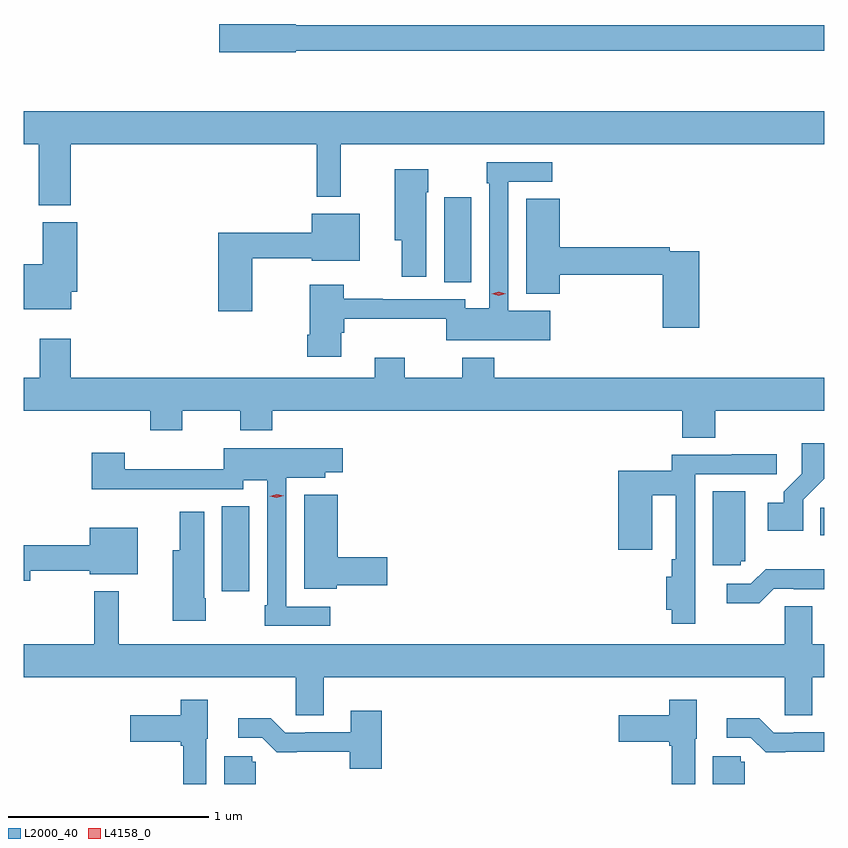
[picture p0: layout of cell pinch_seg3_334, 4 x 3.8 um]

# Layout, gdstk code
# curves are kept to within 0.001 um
import gdstk
lib = gdstk.Library(unit=1e-6, precision=1e-09)
def R(c, l, rs):  # rectangles x0, y0, x1, y1
    for r in rs: c.add(gdstk.rectangle(r[:2], r[2:], *l))
def P(c, l, *ps):  # polygons
    for p in ps: c.add(gdstk.Polygon(p, *l))
L2000_40 = (2000, 40)
L4158_0 = (4158, 0)

pinch_seg3_334 = lib.new_cell('pinch_seg3_334')
R(pinch_seg3_334, L2000_40, [(985.196,719.994,985.333,720.419), (988.186,720.272,988.206,720.41), (986.306,721.537,986.443,721.963)])
P(pinch_seg3_334, L2000_40, [(985.566,722.694),(988.206,722.694),(988.206,722.822),(985.566,722.822),(985.566,722.828),(985.182,722.828),(985.182,722.686),(985.566,722.686)],
  [(984.44,722.228),(985.669,722.228),(985.669,721.965),(985.79,721.965),(985.79,722.228),(988.206,722.228),(988.206,722.392),(984.206,722.392),(984.206,722.228),(984.28,722.228),(984.28,721.922),(984.44,721.922)],
  [(985.792,721.284),(985.807,721.284),(985.807,721.355),(986.316,721.355),(986.316,721.247),(986.836,721.247),(986.836,721.396),(986.628,721.396),(986.628,722.04),(986.848,722.04),(986.848,722.136),(986.52,722.136),(986.52,722.033),(986.532,722.033),(986.532,721.408),(986.412,721.408),(986.412,721.452),(986,721.452),(986,721.454),(985.805,721.454),(985.805,721.525),(985.634,721.525),(985.634,721.276),(985.622,721.276),(985.622,721.164),(985.792,721.164)],
  [(986.218,721.988),(986.226,721.988),(986.226,722.101),(986.06,722.101),(986.06,721.748),(986.096,721.748),(986.096,721.566),(986.218,721.566)],
  [(987.581,721.692),(987.434,721.692),(987.434,721.712),(986.884,721.712),(986.884,721.955),(986.717,721.955),(986.717,721.481),(986.884,721.481),(986.884,721.576),(987.398,721.576),(987.398,721.311),(987.581,721.311)],
  [(985.348,721.657),(985.646,721.657),(985.646,721.646),(985.885,721.646),(985.885,721.879),(985.646,721.879),(985.646,721.786),(985.178,721.786),(985.178,721.392),(985.348,721.392)],
  [(984.442,721.491),(984.473,721.491),(984.473,721.837),(984.302,721.837),(984.302,721.627),(984.206,721.627),(984.206,721.403),(984.442,721.403)],
  [(987.662,720.896),(988.206,720.896),(988.206,721.06),(986.558,721.06),(986.558,721.159),(986.398,721.159),(986.398,721.06),(986.109,721.06),(986.109,721.159),(985.961,721.159),(985.961,721.06),(984.44,721.06),(984.44,721.255),(984.287,721.255),(984.287,721.06),(984.206,721.06),(984.206,720.896),(984.839,720.896),(984.839,720.797),(984.999,720.797),(984.999,720.896),(985.288,720.896),(985.288,720.797),(985.448,720.797),(985.448,720.896),(987.497,720.896),(987.497,720.76),(987.662,720.76)],
  [(988.101,720.451),(988.206,720.556),(988.206,720.733),(988.095,720.733),(988.095,720.581),(988.004,720.491),(988.004,720.436),(987.924,720.436),(987.924,720.296),(988.101,720.296)],
  [(985.738,719.916),(985.518,719.916),(985.518,720.56),(985.713,720.56),(985.713,720.587),(985.801,720.587),(985.801,720.709),(985.206,720.709),(985.206,720.602),(984.71,720.602),(984.71,720.685),(984.545,720.685),(984.545,720.503),(984.793,720.503),(984.793,720.504),(985.302,720.504),(985.302,720.548),(985.422,720.548),(985.422,719.923),(985.41,719.923),(985.41,719.82),(985.738,719.82)],
  [(987.562,720.054),(987.561,720.054),(987.561,720.579),(987.97,720.579),(987.97,720.678),(987.745,720.678),(987.745,720.675),(987.445,720.675),(987.445,720.595),(987.176,720.595),(987.176,720.201),(987.346,720.201),(987.346,720.474),(987.465,720.474),(987.465,720.154),(987.445,720.154),(987.445,720.066),(987.416,720.066),(987.416,719.9),(987.445,719.9),(987.445,719.832),(987.562,719.832)],
  [(987.789,720.144),(987.811,720.144),(987.811,720.493),(987.65,720.493),(987.65,720.123),(987.789,720.123)],
  [(985.77,720.022),(986.023,720.022),(986.023,720.164),(985.774,720.164),(985.774,720.475),(985.607,720.475),(985.607,720.005),(985.77,720.005)],
  [(985.116,719.959),(985.108,719.959),(985.108,720.391),(984.986,720.391),(984.986,720.199),(984.95,720.199),(984.95,719.847),(985.116,719.847)],
  [(984.238,720.096),(984.536,720.096),(984.536,720.077),(984.775,720.077),(984.775,720.31),(984.536,720.31),(984.536,720.224),(984.206,720.224),(984.206,720.046),(984.238,720.046)],
  [(987.954,720.006),(988.054,720.006),(988.054,720.003),(988.206,720.003),(988.206,720.103),(987.913,720.103),(987.84,720.03),(987.72,720.03),(987.72,719.933),(987.881,719.933)],
  [(985.705,719.564),(988.008,719.564),(988.008,719.374),(988.147,719.374),(988.147,719.564),(988.206,719.564),(988.206,719.728),(988.147,719.728),(988.147,719.918),(988.008,719.918),(988.008,719.728),(984.68,719.728),(984.68,719.992),(984.559,719.992),(984.559,719.728),(984.206,719.728),(984.206,719.564),(985.566,719.564),(985.566,719.374),(985.705,719.374)],
  [(985.119,719.256),(985.126,719.256),(985.126,719.452),(984.99,719.452),(984.99,719.374),(984.738,719.374),(984.738,719.24),(984.99,719.24),(984.99,719.222),(985.003,719.222),(985.003,719.03),(985.119,719.03)],
  [(987.561,719.256),(987.568,719.256),(987.568,719.452),(987.432,719.452),(987.432,719.374),(987.18,719.374),(987.18,719.24),(987.432,719.24),(987.432,719.222),(987.445,719.222),(987.445,719.03),(987.561,719.03)],
  [(985.994,719.395),(985.841,719.395),(985.841,719.289),(985.612,719.289),(985.612,719.286),(985.512,719.286),(985.439,719.359),(985.278,719.359),(985.278,719.262),(985.398,719.262),(985.471,719.189),(985.834,719.19),(985.834,719.105),(985.994,719.105)],
  [(988.012,719.19),(988.206,719.19),(988.206,719.289),(988.054,719.289),(988.054,719.286),(987.954,719.286),(987.881,719.359),(987.72,719.359),(987.72,719.262),(987.84,719.262),(987.913,719.189),(988.012,719.189)],
  [(985.366,719.142),(985.347,719.142),(985.347,719.169),(985.208,719.169),(985.208,719.03),(985.366,719.03)],
  [(987.808,719.142),(987.789,719.142),(987.789,719.169),(987.65,719.169),(987.65,719.03),(987.808,719.03)])
P(pinch_seg3_334, L4158_0, [(986.579,721.471),(986.545,721.481),(986.544,721.481),(986.545,721.481),(986.579,721.491),(986.614,721.481),(986.614,721.481),(986.614,721.481)],
  [(985.47,720.46),(985.435,720.468),(985.435,720.468),(985.435,720.469),(985.469,720.479),(985.504,720.471),(985.505,720.47),(985.504,720.47)])

lib.write_gds('pinch_seg3_334.gds')
